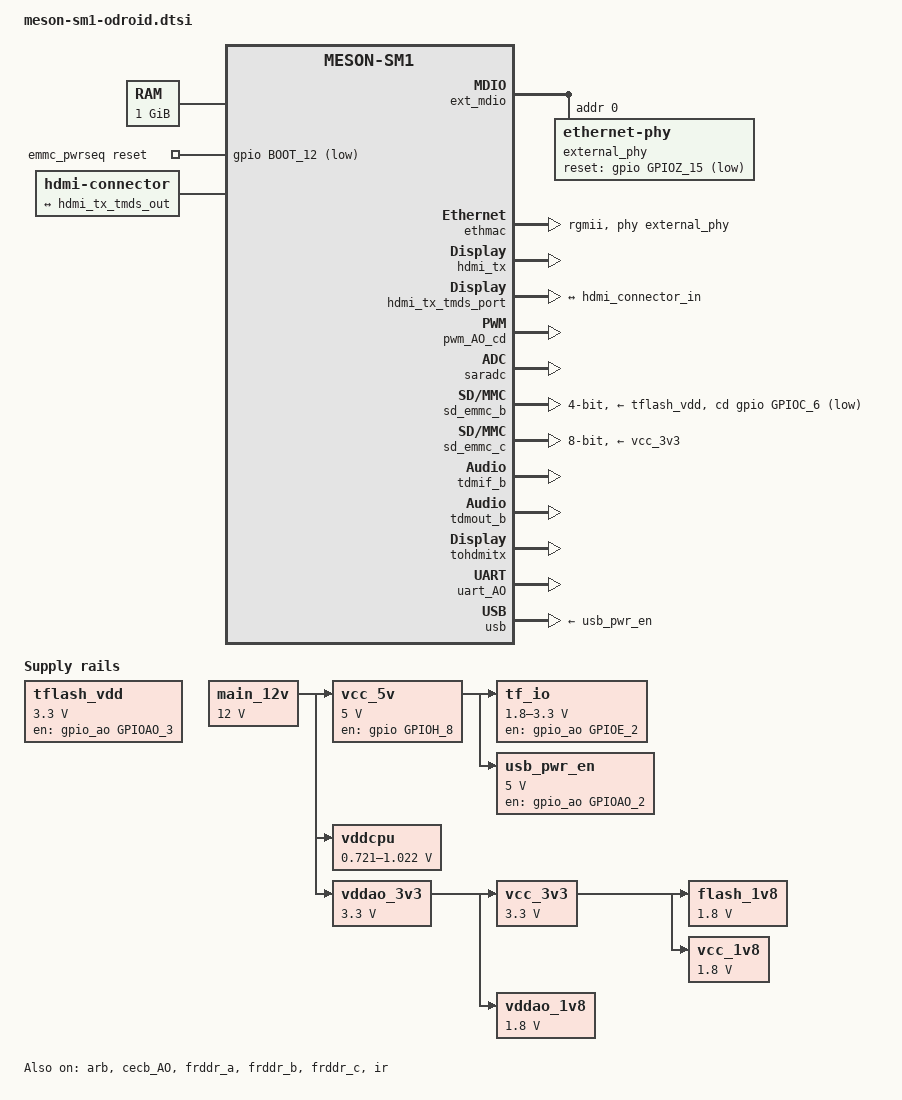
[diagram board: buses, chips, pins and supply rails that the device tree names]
// SPDX-License-Identifier: (GPL-2.0+ OR MIT)
/*
 * Copyright (c) 2020 Dongjin Kim <tobetter@gmail.com>
 */

#include "meson-sm1.dtsi"
#include <dt-bindings/gpio/meson-g12a-gpio.h>
#include <dt-bindings/leds/common.h>
#include <dt-bindings/sound/meson-g12a-tohdmitx.h>

/ {
	aliases {
		serial0 = &uart_AO;
		ethernet0 = &ethmac;
	};

	chosen {
		stdout-path = "serial0:115200n8";
	};

	memory@0 {
		device_type = "memory";
		reg = <0x0 0x0 0x0 0x40000000>;
	};

	emmc_pwrseq: emmc-pwrseq {
		compatible = "mmc-pwrseq-emmc";
		reset-gpios = <&gpio BOOT_12 GPIO_ACTIVE_LOW>;
	};

	tflash_vdd: regulator-tflash_vdd {
		compatible = "regulator-fixed";

		regulator-name = "TFLASH_VDD";
		regulator-min-microvolt = <3300000>;
		regulator-max-microvolt = <3300000>;

		gpio = <&gpio_ao GPIOAO_3 GPIO_OPEN_DRAIN>;
		enable-active-high;
		regulator-always-on;
	};

	tf_io: gpio-regulator-tf_io {
		compatible = "regulator-gpio";

		regulator-name = "TF_IO";
		regulator-min-microvolt = <1800000>;
		regulator-max-microvolt = <3300000>;
		vin-supply = <&vcc_5v>;

		enable-gpios = <&gpio_ao GPIOE_2 GPIO_OPEN_DRAIN>;
		enable-active-high;
		regulator-always-on;

		gpios = <&gpio_ao GPIOAO_6 GPIO_OPEN_SOURCE>;
		gpios-states = <0>;

		states = <3300000 0>,
			 <1800000 1>;
	};

	flash_1v8: regulator-flash_1v8 {
		compatible = "regulator-fixed";
		regulator-name = "FLASH_1V8";
		regulator-min-microvolt = <1800000>;
		regulator-max-microvolt = <1800000>;
		vin-supply = <&vcc_3v3>;
		regulator-always-on;
	};

	main_12v: regulator-main_12v {
		compatible = "regulator-fixed";
		regulator-name = "12V";
		regulator-min-microvolt = <12000000>;
		regulator-max-microvolt = <12000000>;
		regulator-always-on;
	};

	vcc_5v: regulator-vcc_5v {
		compatible = "regulator-fixed";
		regulator-name = "5V";
		regulator-min-microvolt = <5000000>;
		regulator-max-microvolt = <5000000>;
		regulator-always-on;
		vin-supply = <&main_12v>;
		gpio = <&gpio GPIOH_8 GPIO_OPEN_DRAIN>;
		enable-active-high;
	};

	vcc_1v8: regulator-vcc_1v8 {
		compatible = "regulator-fixed";
		regulator-name = "VCC_1V8";
		regulator-min-microvolt = <1800000>;
		regulator-max-microvolt = <1800000>;
		vin-supply = <&vcc_3v3>;
		regulator-always-on;
	};

	vcc_3v3: regulator-vcc_3v3 {
		compatible = "regulator-fixed";
		regulator-name = "VCC_3V3";
		regulator-min-microvolt = <3300000>;
		regulator-max-microvolt = <3300000>;
		vin-supply = <&vddao_3v3>;
		regulator-always-on;
		/* FIXME: actually controlled by VDDCPU_B_EN */
	};

	vddcpu: regulator-vddcpu {
		/*
		 * MP8756GD Regulator.
		 */
		compatible = "pwm-regulator";

		regulator-name = "VDDCPU";
		regulator-min-microvolt = <721000>;
		regulator-max-microvolt = <1022000>;

		pwm-supply = <&main_12v>;

		pwms = <&pwm_AO_cd 1 1250 0>;
		pwm-dutycycle-range = <100 0>;

		regulator-boot-on;
		regulator-always-on;
	};

	usb_pwr_en: regulator-usb_pwr_en {
		compatible = "regulator-fixed";
		regulator-name = "USB_PWR_EN";
		regulator-min-microvolt = <5000000>;
		regulator-max-microvolt = <5000000>;
		vin-supply = <&vcc_5v>;

		/* Connected to the microUSB port power enable */
		gpio = <&gpio_ao GPIOAO_2 GPIO_ACTIVE_HIGH>;
		enable-active-high;
	};

	vddao_1v8: regulator-vddao_1v8 {
		compatible = "regulator-fixed";
		regulator-name = "VDDAO_1V8";
		regulator-min-microvolt = <1800000>;
		regulator-max-microvolt = <1800000>;
		vin-supply = <&vddao_3v3>;
		regulator-always-on;
	};

	vddao_3v3: regulator-vddao_3v3 {
		compatible = "regulator-fixed";
		regulator-name = "VDDAO_3V3";
		regulator-min-microvolt = <3300000>;
		regulator-max-microvolt = <3300000>;
		vin-supply = <&main_12v>;
		regulator-always-on;
	};

	hdmi-connector {
		compatible = "hdmi-connector";
		type = "a";

		port {
			hdmi_connector_in: endpoint {
				remote-endpoint = <&hdmi_tx_tmds_out>;
			};
		};
	};

	sound {
		compatible = "amlogic,axg-sound-card";
		audio-aux-devs = <&tdmout_b>;
		audio-routing = "TDMOUT_B IN 0", "FRDDR_A OUT 1",
				"TDMOUT_B IN 1", "FRDDR_B OUT 1",
				"TDMOUT_B IN 2", "FRDDR_C OUT 1",
				"TDM_B Playback", "TDMOUT_B OUT";

		assigned-clocks = <&clkc CLKID_MPLL2>,
				  <&clkc CLKID_MPLL0>,
				  <&clkc CLKID_MPLL1>;
		assigned-clock-parents = <0>, <0>, <0>;
		assigned-clock-rates = <294912000>,
				       <270950400>,
				       <393216000>;
		status = "okay";

		dai-link-0 {
			sound-dai = <&frddr_a>;
		};

		dai-link-1 {
			sound-dai = <&frddr_b>;
		};

		dai-link-2 {
			sound-dai = <&frddr_c>;
		};

		/* 8ch hdmi interface */
		dai-link-3 {
			sound-dai = <&tdmif_b>;
			dai-format = "i2s";
			dai-tdm-slot-tx-mask-0 = <1 1>;
			dai-tdm-slot-tx-mask-1 = <1 1>;
			dai-tdm-slot-tx-mask-2 = <1 1>;
			dai-tdm-slot-tx-mask-3 = <1 1>;
			mclk-fs = <256>;

			codec {
				sound-dai = <&tohdmitx TOHDMITX_I2S_IN_B>;
			};
		};

		/* hdmi glue */
		dai-link-4 {
			sound-dai = <&tohdmitx TOHDMITX_I2S_OUT>;

			codec {
				sound-dai = <&hdmi_tx>;
			};
		};
	};
};

&arb {
	status = "okay";
};

&cec_AO {
	pinctrl-0 = <&cec_ao_a_h_pins>;
	pinctrl-names = "default";
	status = "disabled";
	hdmi-phandle = <&hdmi_tx>;
};

&cecb_AO {
	pinctrl-0 = <&cec_ao_b_h_pins>;
	pinctrl-names = "default";
	status = "okay";
	hdmi-phandle = <&hdmi_tx>;
};

&clkc_audio {
	status = "okay";
};

&cpu0 {
	cpu-supply = <&vddcpu>;
	operating-points-v2 = <&cpu_opp_table>;
	clocks = <&clkc CLKID_CPU_CLK>;
	clock-latency = <50000>;
};

&cpu1 {
	cpu-supply = <&vddcpu>;
	operating-points-v2 = <&cpu_opp_table>;
	clocks = <&clkc CLKID_CPU1_CLK>;
	clock-latency = <50000>;
};

&cpu2 {
	cpu-supply = <&vddcpu>;
	operating-points-v2 = <&cpu_opp_table>;
	clocks = <&clkc CLKID_CPU2_CLK>;
	clock-latency = <50000>;
};

&cpu3 {
	cpu-supply = <&vddcpu>;
	operating-points-v2 = <&cpu_opp_table>;
	clocks = <&clkc CLKID_CPU3_CLK>;
	clock-latency = <50000>;
};

&ext_mdio {
	external_phy: ethernet-phy@0 {
		/* Realtek RTL8211F (0x001cc916) */
		reg = <0>;
		max-speed = <1000>;

		reset-assert-us = <10000>;
		reset-deassert-us = <80000>;
		reset-gpios = <&gpio GPIOZ_15 (GPIO_ACTIVE_LOW | GPIO_OPEN_DRAIN)>;

		interrupt-parent = <&gpio_intc>;
		/* MAC_INTR on GPIOZ_14 */
		interrupts = <26 IRQ_TYPE_LEVEL_LOW>;
	};
};

&ethmac {
	pinctrl-0 = <&eth_pins>, <&eth_rgmii_pins>;
	pinctrl-names = "default";
	status = "okay";
	phy-mode = "rgmii";
	phy-handle = <&external_phy>;
	amlogic,tx-delay-ns = <2>;
};

&frddr_a {
	status = "okay";
};

&frddr_b {
	status = "okay";
};

&frddr_c {
	status = "okay";
};

&gpio {
	gpio-line-names =
		/* GPIOZ */
		"", "", "", "", "", "", "", "",
		"", "", "", "", "", "", "", "",
		/* GPIOH */
		"", "", "", "", "",
		"PIN_36", /* GPIOH_5 */
		"PIN_26", /* GPIOH_6 */
		"PIN_32", /* GPIOH_7 */
		"",
		/* BOOT */
		"", "", "", "", "", "", "", "",
		"", "", "", "", "", "", "", "",
		/* GPIOC */
		"", "", "", "", "", "", "", "",
		/* GPIOA */
		"", "", "", "", "", "", "", "",
		"", "", "", "", "", "",
		"PIN_27", /* GPIOA_14 */
		"PIN_28", /* GPIOA_15 */
		/* GPIOX */
		"PIN_16", /* GPIOX_0 */
		"PIN_18", /* GPIOX_1 */
		"PIN_22", /* GPIOX_2 */
		"PIN_11", /* GPIOX_3 */
		"PIN_13", /* GPIOX_4 */
		"PIN_7",  /* GPIOX_5 */
		"PIN_33", /* GPIOX_6 */
		"PIN_15", /* GPIOX_7 */
		"PIN_19", /* GPIOX_8 */
		"PIN_21", /* GPIOX_9 */
		"PIN_24", /* GPIOX_10 */
		"PIN_23", /* GPIOX_11 */
		"PIN_8",  /* GPIOX_12 */
		"PIN_10", /* GPIOX_13 */
		"PIN_29", /* GPIOX_14 */
		"PIN_31", /* GPIOX_15 */
		"PIN_12", /* GPIOX_16 */
		"PIN_3",  /* GPIOX_17 */
		"PIN_5",  /* GPIOX_18 */
		"PIN_35"; /* GPIOX_19 */
};

&gpio_ao {
	gpio-line-names =
		/* GPIOAO */
		"", "", "", "",
		"PIN_47", /* GPIOAO_4 */
		"", "",
		"PIN_45", /* GPIOAO_7 */
		"PIN_46", /* GPIOAO_8 */
		"PIN_44", /* GPIOAO_9 */
		"PIN_42", /* GPIOAO_10 */
		"",
		/* GPIOE */
		"", "", "";
};

&hdmi_tx {
	status = "okay";
	pinctrl-0 = <&hdmitx_hpd_pins>, <&hdmitx_ddc_pins>;
	pinctrl-names = "default";
	hdmi-supply = <&vcc_5v>;
};

&hdmi_tx_tmds_port {
	hdmi_tx_tmds_out: endpoint {
		remote-endpoint = <&hdmi_connector_in>;
	};
};

&ir {
	status = "okay";
	pinctrl-0 = <&remote_input_ao_pins>;
	pinctrl-names = "default";
};

&pwm_AO_cd {
	pinctrl-0 = <&pwm_ao_d_e_pins>;
	pinctrl-names = "default";
	clocks = <&xtal>;
	clock-names = "clkin1";
	status = "okay";
};

&saradc {
	status = "okay";
};

/* SD card */
&sd_emmc_b {
	status = "okay";
	pinctrl-0 = <&sdcard_c_pins>;
	pinctrl-1 = <&sdcard_clk_gate_c_pins>;
	pinctrl-names = "default", "clk-gate";

	bus-width = <4>;
	cap-sd-highspeed;
	max-frequency = <200000000>;
	sd-uhs-sdr12;
	sd-uhs-sdr25;
	sd-uhs-sdr50;
	sd-uhs-sdr104;
	disable-wp;

	cd-gpios = <&gpio GPIOC_6 GPIO_ACTIVE_LOW>;
	vmmc-supply = <&tflash_vdd>;
	vqmmc-supply = <&tf_io>;
};

/* eMMC */
&sd_emmc_c {
	status = "okay";
	pinctrl-0 = <&emmc_ctrl_pins>, <&emmc_data_8b_pins>, <&emmc_ds_pins>;
	pinctrl-1 = <&emmc_clk_gate_pins>;
	pinctrl-names = "default", "clk-gate";

	bus-width = <8>;
	cap-mmc-highspeed;
	mmc-ddr-1_8v;
	mmc-hs200-1_8v;
	max-frequency = <200000000>;
	disable-wp;

	mmc-pwrseq = <&emmc_pwrseq>;
	vmmc-supply = <&vcc_3v3>;
	vqmmc-supply = <&flash_1v8>;
};

&tdmif_b {
	status = "okay";
};

&tdmout_b {
	status = "okay";
};

&tohdmitx {
	status = "okay";
};

&uart_AO {
	status = "okay";
	pinctrl-0 = <&uart_ao_a_pins>;
	pinctrl-names = "default";
};

&usb {
	status = "okay";
	vbus-supply = <&usb_pwr_en>;
};

&usb2_phy0 {
	phy-supply = <&vcc_5v>;
};

